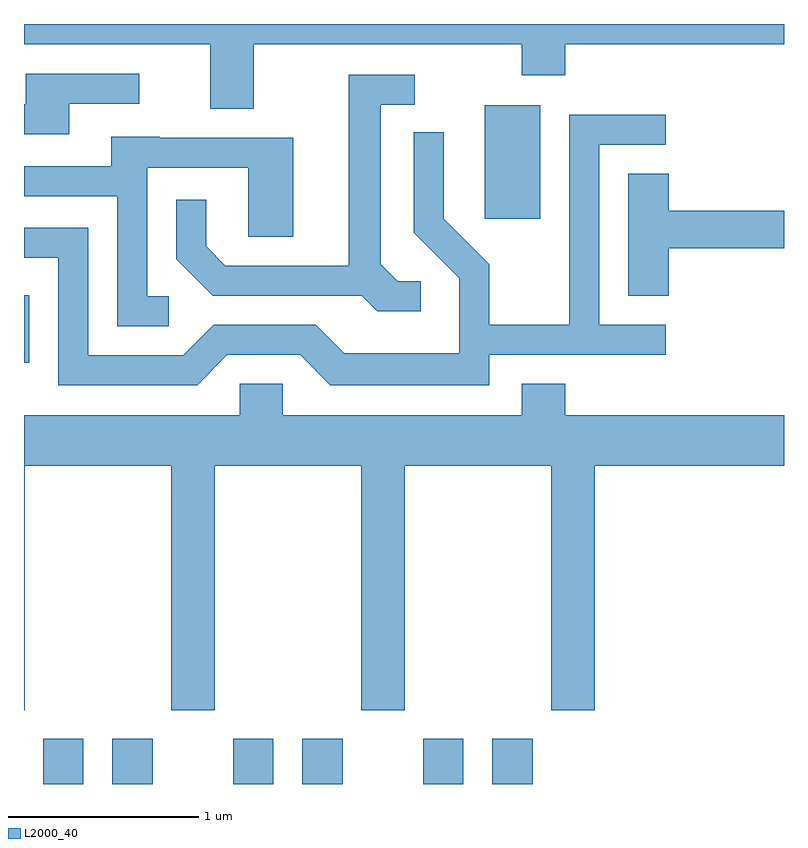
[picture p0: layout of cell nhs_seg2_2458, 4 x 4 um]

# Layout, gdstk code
import gdstk
lib = gdstk.Library(unit=1e-6, precision=1e-09)
def R(c, l, rs):  # rectangles x0, y0, x1, y1
    for r in rs: c.add(gdstk.rectangle(r[:2], r[2:], *l))
def P(c, l, *ps):  # polygons
    for p in ps: c.add(gdstk.Polygon(p, *l))
L2000_40 = (2000, 40)

nhs_seg2_2458 = lib.new_cell('nhs_seg2_2458')
R(nhs_seg2_2458, L2000_40, [(257.711,997.802,257.924,998.039), (258.076,997.802,258.289,998.039), (258.711,997.802,258.924,998.039), (259.076,997.802,259.289,998.039), (259.711,997.802,259.924,998.039), (260.076,997.802,260.289,998.039), (257.611,1000.018,257.639,1000.374), (260.036,1000.776,260.329,1001.374)])
P(nhs_seg2_2458, L2000_40, [(257.611,1001.696),(258.591,1001.696),(258.591,1001.356),(258.819,1001.356),(258.819,1001.696),(260.231,1001.696),(260.231,1001.531),(260.459,1001.531),(260.459,1001.696),(261.611,1001.696),(261.611,1001.802),(257.611,1001.802)],
  [(257.849,1001.381),(258.218,1001.381),(258.218,1001.539),(257.621,1001.539),(257.621,1001.379),(257.611,1001.379),(257.611,1001.221),(257.849,1001.221)],
  [(259.698,1000.449),(259.577,1000.449),(259.489,1000.537),(259.489,1001.376),(259.668,1001.376),(259.668,1001.534),(259.321,1001.534),(259.321,1000.529),(258.671,1000.529),(258.569,1000.632),(258.569,1000.878),(258.411,1000.878),(258.411,1000.564),(258.604,1000.371),(259.389,1000.371),(259.469,1000.291),(259.698,1000.291)],
  [(258.682,1000.061),(259.064,1000.061),(259.224,999.901),(260.059,999.901),(260.059,1000.061),(260.988,1000.061),(260.988,1000.219),(260.639,1000.219),(260.639,1001.166),(260.988,1001.166),(260.988,1001.324),(260.481,1001.324),(260.481,1000.219),(260.059,1000.219),(260.059,1000.537),(259.819,1000.777),(259.819,1001.233),(259.661,1001.233),(259.661,1000.704),(259.901,1000.464),(259.901,1000.069),(259.296,1000.069),(259.147,1000.219),(258.609,1000.219),(258.449,1000.059),(257.949,1000.059),(257.949,1000.729),(257.611,1000.729),(257.611,1000.571),(257.791,1000.571),(257.791,999.901),(258.522,999.901)],
  [(258.373,1000.369),(258.259,1000.369),(258.259,1001.046),(258.791,1001.046),(258.791,1000.681),(259.029,1000.681),(259.029,1001.204),(258.325,1001.204),(258.325,1001.209),(258.071,1001.209),(258.071,1001.054),(257.611,1001.054),(257.611,1000.896),(258.101,1000.896),(258.101,1000.211),(258.373,1000.211)],
  [(261.004,1000.621),(261.611,1000.621),(261.611,1000.819),(261.004,1000.819),(261.004,1001.014),(260.791,1001.014),(260.791,1000.371),(261.004,1000.371)],
  [(257.614,999.476),(258.386,999.476),(258.386,998.191),(258.614,998.191),(258.614,999.476),(259.386,999.476),(259.386,998.191),(259.614,998.191),(259.614,999.476),(260.386,999.476),(260.386,998.191),(260.614,998.191),(260.614,999.476),(261.611,999.476),(261.611,999.744),(260.459,999.744),(260.459,999.909),(260.231,999.909),(260.231,999.744),(258.974,999.744),(258.974,999.909),(258.746,999.909),(258.746,999.744),(257.611,999.744),(257.611,998.191),(257.614,998.191)])

lib.write_gds('nhs_seg2_2458.gds')
